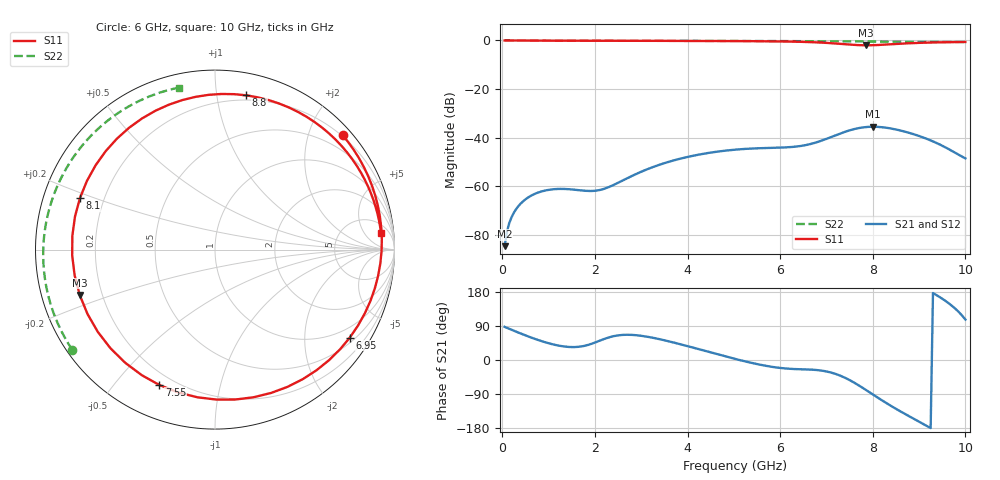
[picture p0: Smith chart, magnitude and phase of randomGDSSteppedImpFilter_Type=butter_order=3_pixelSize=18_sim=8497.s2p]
! freq	dB(S11)	phase(S11)	dB(S12)	phase(S12)
!  dB(S21)	phase(S21)	dB(S22)	phase(S22)
!S-par simulation data
#  GHz  S  DB  R 50
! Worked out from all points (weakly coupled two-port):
!   200 points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, 50 MHz to 10 GHz, reference 50 ohm
!   highest |S21| = -35.55 dB at 8 GHz (marker M1); lowest = -84.7 dB at 50 MHz (marker M2)
!   lowest |S11| = -2.0 dB at 7.85 GHz (marker M3), VSWR 8.75, Z = 5.86 - j8.07 ohm
!   |S11| at or under -10 dB: nowhere
!   |S22| runs from -0.7 to 0.0 dB; largest |S21 - S12| = 0
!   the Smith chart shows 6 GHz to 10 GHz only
!   S11 on the Smith chart (normalised r, x): 6 GHz: 0.18, +2.60; 6.95 GHz: 0.65, -3.24; 7.55 GHz: 0.15, -0.66; 8.1 GHz: 0.11, +0.18; 8.8 GHz: 0.16, +1.21; 10 GHz: 10, +13
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0.05  -0.00 -3.9  -84.75 87.4  -84.75 87.4  -0.00 -1.3
0.3  -0.03 -23.1  -69.44 74.7  -69.44 74.7  -0.01 -7.9
0.6  -0.06 -45.4  -64.19 60.3  -64.19 60.3  -0.02 -15.7
1.15  -0.10 -83.0  -61.22 39.7  -61.22 39.7  -0.04 -30.0
1.75  -0.12 -118.4  -61.87 36.7  -61.87 36.7  -0.06 -45.2
2.55  -0.14 -158.3  -58.17 65.8  -58.17 65.8  -0.08 -65.0
3.4  -0.17 164.4  -51.17 54.8  -51.17 54.8  -0.11 -85.4
4.3  -0.21 126.3  -46.83 26.7  -46.83 26.7  -0.15 -106.2
5.05  -0.26 92.5  -44.95 2.2  -44.95 2.2  -0.19 -123.3
5.55  -0.31 67.5  -44.39 -12.0  -44.39 -12.0  -0.22 -134.7
6  -0.40 41.9  -44.15 -20.9  -44.15 -20.9  -0.25 -145.0
6.7  -0.72 -9.1  -42.44 -25.7  -42.44 -25.7  -0.31 -161.5
6.95  -0.95 -33.2  -40.89 -29.0  -40.89 -29.0  -0.33 -167.5
7.3  -1.41 -75.3  -38.32 -41.5  -38.32 -41.5  -0.37 -176.2
7.55  -1.77 -112.3  -36.75 -56.4  -36.75 -56.4  -0.39 177.4
7.85  -1.99 -161.4  -35.68 -78.8  -35.68 -78.8  -0.43 169.5
8  -1.95 174.4  -35.55 -90.8  -35.55 -90.8  -0.44 165.5
8.1  -1.88 159.2  -35.60 -98.7  -35.60 -98.7  -0.45 162.7
8.35  -1.61 125.1  -36.13 -117.9  -36.13 -117.9  -0.48 155.7
8.8  -1.14 78.6  -38.14 -149.4  -38.14 -149.4  -0.54 142.5
9.35  -0.80 39.2  -42.00 173.2  -42.00 173.2  -0.60 125.0
10  -0.63 5.7  -48.57 106.8  -48.57 106.8  -0.68 102.4
